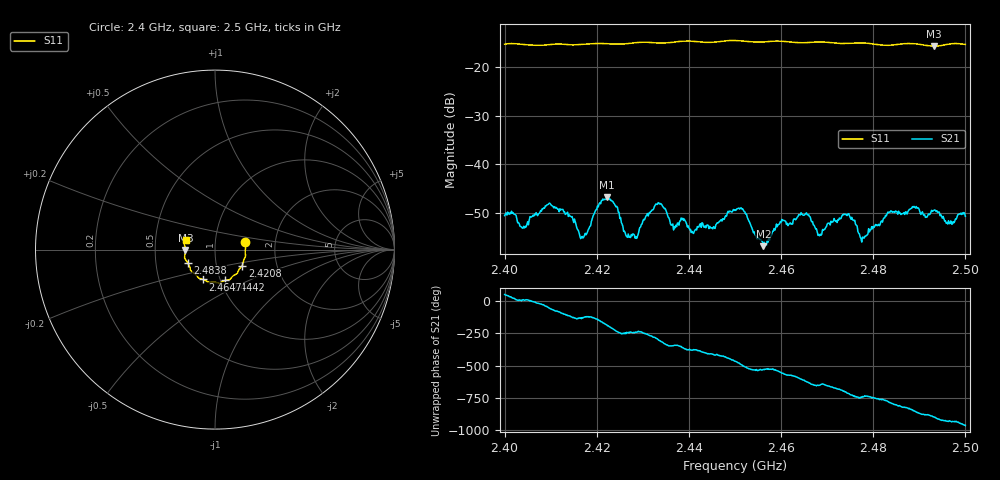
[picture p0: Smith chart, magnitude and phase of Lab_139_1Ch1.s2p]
# Hz S RI R 50
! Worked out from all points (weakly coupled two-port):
!   601 points, 2.4 GHz to 2.5 GHz, reference 50 ohm
!   highest |S21| = -46.78 dB at 2.4222 GHz (marker M1); lowest = -56.9 dB at 2.4562 GHz (marker M2)
!   lowest |S11| = -15.6 dB at 2.4932 GHz (marker M3), VSWR 1.40, Z = 35.8 - j0.131 ohm
!   |S11| at or under -10 dB: start of sweep to end of sweep
!   S12 and S22 are empty: the file has one direction only
!   S11 on the Smith chart (normalised r, x): 2.4 GHz: 1.40, +0.12; 2.4208 GHz: 1.33, -0.24; 2.4442 GHz: 1.05, -0.37; 2.4647 GHz: 0.83, -0.29; 2.4838 GHz: 0.73, -0.11; 2.5 GHz: 0.71, +0.08
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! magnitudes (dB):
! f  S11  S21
! 2.4 GHz  -15.2  -50.6
! 2.4042 GHz  -15.3  -52.8
! 2.4098 GHz  -15.3  -48.1
! 2.4167 GHz  -15.3  -55.1
! 2.4208 GHz  -15.1  -48.2
! 2.4222 GHz  -15.1  -46.8
! 2.4268 GHz  -15.1  -54.4
! 2.4333 GHz  -15.0  -47.9
! 2.4365 GHz  -14.8  -52.3
! 2.4442 GHz  -14.9  -52.6
! 2.45 GHz  -14.5  -49.4
! 2.4562 GHz  -14.8  -56.9
! 2.4647 GHz  -14.9  -50.4
! 2.4667 GHz  -14.8  -51.9
! 2.4683 GHz  -14.8  -54.8
! 2.4743 GHz  -15.1  -50.6
! 2.4777 GHz  -15.0  -55.0
! 2.4833 GHz  -15.5  -50.0
! 2.4838 GHz  -15.4  -49.6
! 2.4932 GHz  -15.6  -49.5
! 2.4962 GHz  -15.3  -52.3
! 2.5 GHz  -15.3  -50.7
